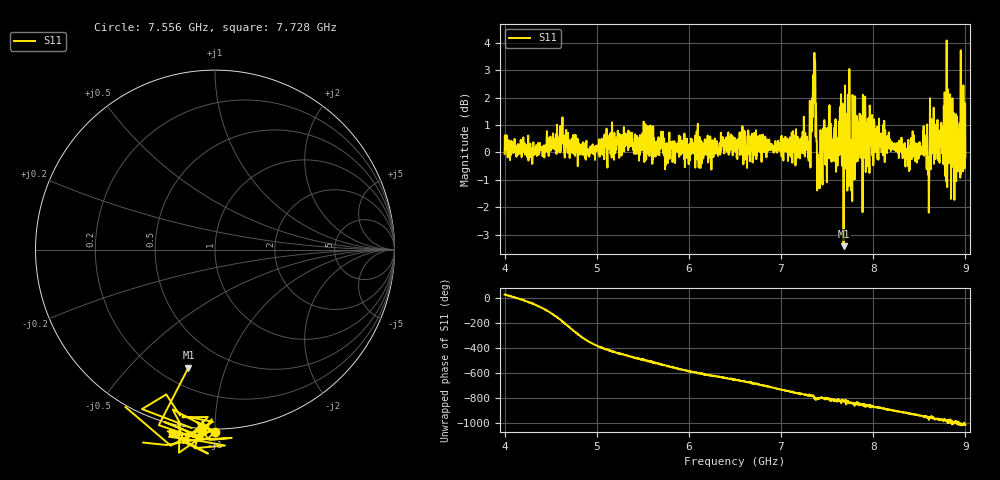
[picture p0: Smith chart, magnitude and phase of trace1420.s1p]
! Created with skrf 1.8.0 (http://scikit-rf.org).
# Hz S RI R 50.0
!freq ReS11 ImS11
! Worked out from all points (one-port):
!   1601 points, 4 GHz to 9 GHz, reference 50 ohm
!   lowest |S11| = -3.4 dB at 7.678 GHz (marker M1), VSWR 5.14, Z = 15.6 - j37.6 ohm
!   |S11| at or under -10 dB: nowhere
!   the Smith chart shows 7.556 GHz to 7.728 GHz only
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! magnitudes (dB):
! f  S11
! 4 GHz  -0.1
! 4.625 GHz  0.9
! 4.916 GHz  0.0
! 5.25 GHz  0.4
! 5.875 GHz  0.3
! 6.5 GHz  0.5
! 7.125 GHz  0.4
! 7.297 GHz  -0.1
! 7.356 GHz  2.9
! 7.4 GHz  -0.1
! 7.416 GHz  -0.9
! 7.481 GHz  -0.5
! 7.609 GHz  0.4
! 7.65 GHz  2.1
! 7.678 GHz  -3.4
! 7.75 GHz  0.4
! 7.775 GHz  2.1
! 7.828 GHz  -0.1
! 7.962 GHz  1.7
! 8.375 GHz  -0.3
! 8.55 GHz  -0.1
! 8.603 GHz  -2.2
! 8.641 GHz  0.6
! 8.816 GHz  0.6
! 8.825 GHz  1.4
! 8.903 GHz  0.6
! 8.972 GHz  0.4
! 9 GHz  -0.2
